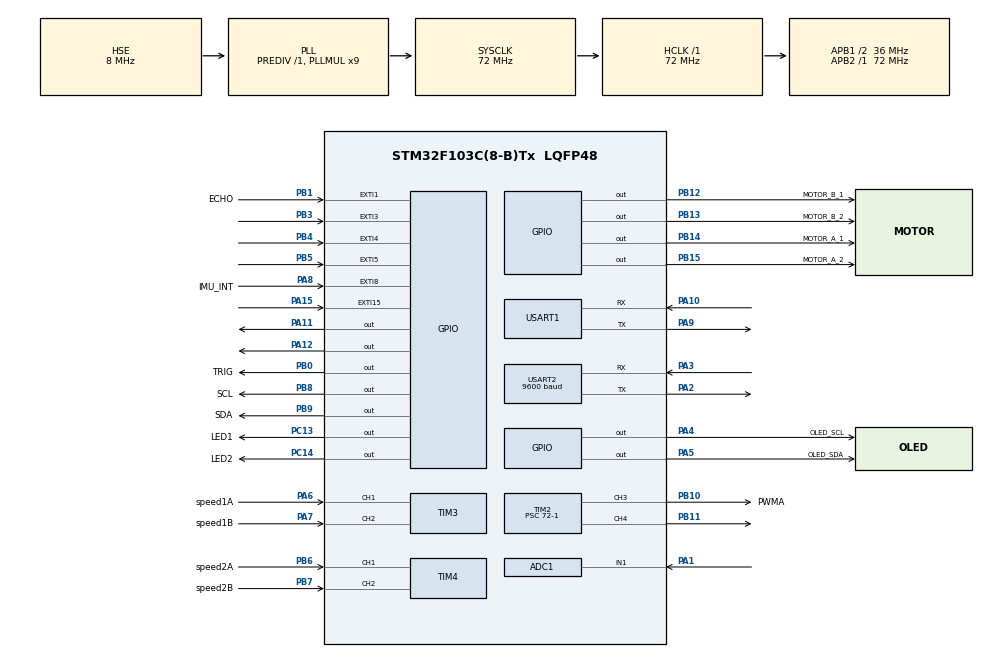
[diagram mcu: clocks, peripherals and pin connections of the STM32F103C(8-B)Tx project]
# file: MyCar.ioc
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ADC1.Channel-1\#ChannelRegularConversion=ADC_CHANNEL_1
ADC1.NbrOfConversionFlag=1
ADC1.Rank-1\#ChannelRegularConversion=1
ADC1.SamplingTime-1\#ChannelRegularConversion=ADC_SAMPLETIME_1CYCLE_5
ADC1.master=1
Dma.Request0=USART2_RX
Dma.Request1=USART2_TX
Dma.USART2_RX.0.Direction=DMA_PERIPH_TO_MEMORY
Dma.USART2_RX.0.Instance=DMA1_Channel6
Dma.USART2_RX.0.MemDataAlignment=DMA_MDATAALIGN_BYTE
Dma.USART2_RX.0.MemInc=DMA_MINC_ENABLE
Dma.USART2_RX.0.Mode=DMA_CIRCULAR
Dma.USART2_RX.0.PeriphDataAlignment=DMA_PDATAALIGN_BYTE
Dma.USART2_RX.0.PeriphInc=DMA_PINC_DISABLE
Dma.USART2_RX.0.Priority=DMA_PRIORITY_LOW
Dma.USART2_TX.1.Direction=DMA_MEMORY_TO_PERIPH
Dma.USART2_TX.1.Instance=DMA1_Channel7
Dma.USART2_TX.1.MemDataAlignment=DMA_MDATAALIGN_BYTE
Dma.USART2_TX.1.MemInc=DMA_MINC_ENABLE
Dma.USART2_TX.1.Mode=DMA_CIRCULAR
Dma.USART2_TX.1.PeriphDataAlignment=DMA_PDATAALIGN_BYTE
Dma.USART2_TX.1.PeriphInc=DMA_PINC_DISABLE
Dma.USART2_TX.1.Priority=DMA_PRIORITY_LOW
FREERTOS.BinarySemaphores01=myBinarySem_rxok,Dynamic,NULL
FREERTOS.Tasks01=Task_Sys,-2,128,StartTask_5Hz,Default,NULL,Dynamic,NULL,NULL;Task_Control,0,128,StartTask_100Hz,Default,NULL,Dynamic,NULL,NULL;Task_IMU,-1,128,StartTask_200Hz,Default,NULL,Dynamic,NULL,NULL;Task_Connect,-2,128,StartTask_Connect,Default,NULL,Dynamic,NULL,NULL
FREERTOS.configTOTAL_HEAP_SIZE=10240
Mcu.Family=STM32F1
Mcu.Name=STM32F103C(8-B)Tx
Mcu.Package=LQFP48
NVIC.DMA1_Channel6_IRQn=true\:5\:0\:false\:false\:true\:true\:false\:true
NVIC.DMA1_Channel7_IRQn=true\:5\:0\:false\:false\:true\:true\:false\:true
NVIC.EXTI1_IRQn=true\:5\:0\:true\:false\:true\:true\:true\:true
NVIC.EXTI3_IRQn=true\:6\:0\:true\:false\:true\:true\:true\:true
NVIC.EXTI4_IRQn=true\:6\:0\:true\:false\:true\:true\:true\:true
NVIC.PriorityGroup=NVIC_PRIORITYGROUP_4
NVIC.TIM1_UP_IRQn=true\:5\:0\:false\:false\:true\:true\:true\:true
NVIC.TIM3_IRQn=true\:5\:0\:false\:false\:true\:true\:true\:true
NVIC.TIM4_IRQn=true\:5\:0\:false\:false\:true\:true\:true\:true
NVIC.USART2_IRQn=true\:5\:0\:false\:false\:true\:true\:true\:true
PA1.Signal=ADCx_IN1
PA10.Mode=Asynchronous
PA10.Signal=USART1_RX
PA11.GPIO_Speed=GPIO_SPEED_FREQ_HIGH
PA11.PinState=GPIO_PIN_SET
PA11.Signal=GPIO_Output
PA12.GPIO_Speed=GPIO_SPEED_FREQ_HIGH
PA12.PinState=GPIO_PIN_SET
PA12.Signal=GPIO_Output
PA13.Mode=Serial_Wire
PA13.Signal=SYS_JTMS-SWDIO
PA14.Mode=Serial_Wire
PA14.Signal=SYS_JTCK-SWCLK
PA15.Signal=GPXTI15
PA2.Mode=Asynchronous
PA2.Signal=USART2_TX
PA3.Mode=Asynchronous
PA3.Signal=USART2_RX
PA4.GPIO_Label=OLED_SCL
PA4.GPIO_Speed=GPIO_SPEED_FREQ_HIGH
PA4.PinState=GPIO_PIN_SET
PA4.Signal=GPIO_Output
PA5.GPIO_Label=OLED_SDA
PA5.GPIO_Speed=GPIO_SPEED_FREQ_HIGH
PA5.PinState=GPIO_PIN_SET
PA5.Signal=GPIO_Output
PA6.GPIO_Label=speed1A
PA6.Signal=S_TIM3_CH1
PA7.GPIO_Label=speed1B
PA7.Signal=S_TIM3_CH2
PA8.GPIO_Label=IMU_INT
PA8.Signal=GPXTI8
PA9.Mode=Asynchronous
PA9.Signal=USART1_TX
PB0.GPIO_Label=TRIG
PB0.Signal=GPIO_Output
PB1.GPIO_Label=ECHO
PB1.GPIO_ModeDefaultEXTI=GPIO_MODE_IT_RISING_FALLING
PB1.Signal=GPXTI1
PB10.GPIO_Label=PWMA
PB10.Signal=S_TIM2_CH3
PB11.Signal=S_TIM2_CH4
PB12.GPIO_Label=MOTOR_B_1
PB12.Signal=GPIO_Output
PB13.GPIO_Label=MOTOR_B_2
PB13.Signal=GPIO_Output
PB14.GPIO_Label=MOTOR_A_1
PB14.Signal=GPIO_Output
PB15.GPIO_Label=MOTOR_A_2
PB15.Signal=GPIO_Output
PB3.Signal=GPXTI3
PB4.Signal=GPXTI4
PB5.Signal=GPXTI5
PB6.GPIO_Label=speed2A
PB6.Signal=S_TIM4_CH1
PB7.GPIO_Label=speed2B
PB7.Signal=S_TIM4_CH2
PB8.GPIO_Label=SCL
PB8.PinState=GPIO_PIN_SET
PB8.Signal=GPIO_Output
PB9.GPIO_Label=SDA
PB9.PinState=GPIO_PIN_SET
PB9.Signal=GPIO_Output
PC13-TAMPER-RTC.GPIO_Label=LED1
PC13-TAMPER-RTC.Signal=GPIO_Output
PC14-OSC32_IN.GPIO_Label=LED2
PC14-OSC32_IN.Signal=GPIO_Output
PD0-OSC_IN.Mode=HSE-External-Oscillator
PD0-OSC_IN.Signal=RCC_OSC_IN
PD1-OSC_OUT.Mode=HSE-External-Oscillator
PD1-OSC_OUT.Signal=RCC_OSC_OUT
ProjectManager.HeapSize=0x200
ProjectManager.StackSize=0x400
ProjectManager.TargetToolchain=MDK-ARM V5.32
RCC.ADCPresc=RCC_ADCPCLK2_DIV6
RCC.AHBFreq_Value=72000000
RCC.APB1CLKDivider=RCC_HCLK_DIV2
RCC.APB1Freq_Value=36000000
RCC.APB1TimFreq_Value=72000000
RCC.APB2Freq_Value=72000000
RCC.APB2TimFreq_Value=72000000
RCC.HCLKFreq_Value=72000000
RCC.PLLMUL=RCC_PLL_MUL9
RCC.PLLSourceVirtual=RCC_PLLSOURCE_HSE
RCC.SYSCLKFreq_VALUE=72000000
RCC.SYSCLKSource=RCC_SYSCLKSOURCE_PLLCLK
RCC.USBFreq_Value=72000000
SH.ADCx_IN1.0=ADC1_IN1,IN1
SH.S_TIM2_CH3.0=TIM2_CH3,PWM Generation3 CH3
SH.S_TIM2_CH4.0=TIM2_CH4,PWM Generation4 CH4
SH.S_TIM3_CH1.0=TIM3_CH1,Encoder_Interface
SH.S_TIM3_CH2.0=TIM3_CH2,Encoder_Interface
SH.S_TIM4_CH1.0=TIM4_CH1,Encoder_Interface
SH.S_TIM4_CH2.0=TIM4_CH2,Encoder_Interface
TIM1.Period=5000
TIM1.Prescaler=7200-1
TIM2.Channel-PWM\ Generation3\ CH3=TIM_CHANNEL_3
TIM2.Channel-PWM\ Generation4\ CH4=TIM_CHANNEL_4
TIM2.Period=1000-1
TIM2.Prescaler=72-1
TIM3.EncoderMode=TIM_ENCODERMODE_TI12
TIM4.EncoderMode=TIM_ENCODERMODE_TI12
USART1.VirtualMode=VM_ASYNC
USART2.BaudRate=9600
USART2.VirtualMode=VM_ASYNC
VP_FREERTOS_VS_CMSIS_V1.Mode=CMSIS_V1
VP_TIM1_VS_ClockSourceINT.Mode=Internal
board=custom

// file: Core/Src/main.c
/* USER CODE BEGIN Header */
/**
  ******************************************************************************
  * @file           : main.c
  * @brief          : Main program body
  ******************************************************************************
  * @attention
  *
  * Copyright (c) 2023 STMicroelectronics.
  * All rights reserved.
  *
  * This software is licensed under terms that can be found in the LICENSE file
  * in the root directory of this software component.
  * If no LICENSE file comes with this software, it is provided AS-IS.
  *
  ******************************************************************************
  */
/* USER CODE END Header */
#include "main.h"
#include "cmsis_os.h"
#include "adc.h"
#include "dma.h"
#include "tim.h"
#include "usart.h"
#include "gpio.h"

/* USER CODE BEGIN Includes */
#include "oled.h"
#include "cartask.h"
#include "delay.h"
#include "mpu6050.h"
#include "atk_ms6050_iic.h"
#include "atk_ms6050.h"
#include "control.h"
#include "valuepack.h"
/* USER CODE END Includes */

/* USER CODE BEGIN PV */
extern int  Distance ;
extern unsigned char vp_rxbuff[VALUEPACK_BUFFER_SIZE];
extern unsigned char vp_txbuff[TXPACK_BYTE_SIZE + 3];
RxPack rx;
TxPack tx;
/* USER CODE END PV */

void SystemClock_Config(void);
void MX_FREERTOS_Init(void);

int main(void)
{

  /* MCU Configuration--------------------------------------------------------*/

  /* Reset of all peripherals, Initializes the Flash interface and the Systick. */
  HAL_Init();

  /* Configure the system clock */
  SystemClock_Config();

  /* USER CODE BEGIN SysInit */
  __HAL_RCC_DMA1_CLK_ENABLE();
  /* USER CODE END SysInit */

  /* Initialize all configured peripherals */
  MX_GPIO_Init();
  MX_ADC1_Init();
	MX_DMA_Init();
  MX_TIM1_Init();
  MX_TIM2_Init();
  MX_TIM3_Init();
  MX_TIM4_Init();
  MX_USART1_UART_Init();
  MX_USART2_UART_Init();
  /* USER CODE BEGIN 2 */
	HAL_ADCEx_Calibration_Start(&hadc1);    //ADУ׼
	HAL_TIM_PWM_Start(&htim2, TIM_CHANNEL_3);
	HAL_TIM_PWM_Start(&htim2, TIM_CHANNEL_4);
	HAL_TIM_Encoder_Start(&htim3, TIM_CHANNEL_ALL);
	HAL_TIM_Encoder_Start(&htim4, TIM_CHANNEL_ALL);
	HAL_UART_Receive_DMA(&huart2, (uint8_t *)vp_rxbuff, VALUEPACK_BUFFER_SIZE);
	HAL_Delay(1000);
	delay_init(72);
	uint8_t Senbuff[] = "\r\n**** Serial Output Message by DMA ***\r\n   UART DMA Test \r\n  ";
  /* USER CODE END 2 */

  /* Call init function for freertos objects (in freertos.c) */
  MX_FREERTOS_Init();
  /* Start scheduler */
  osKernelStart();

  /* We should never get here as control is now taken by the scheduler */
  /* Infinite loop */
  while (1)
  {

  }
}

void SystemClock_Config(void)
{
  RCC_OscInitTypeDef RCC_OscInitStruct = {0};
  RCC_ClkInitTypeDef RCC_ClkInitStruct = {0};
  RCC_PeriphCLKInitTypeDef PeriphClkInit = {0};

  /** Initializes the RCC Oscillators according to the specified parameters
  * in the RCC_OscInitTypeDef structure.
  */
  RCC_OscInitStruct.OscillatorType = RCC_OSCILLATORTYPE_HSE;
  RCC_OscInitStruct.HSEState = RCC_HSE_ON;
  RCC_OscInitStruct.HSEPredivValue = RCC_HSE_PREDIV_DIV1;
  RCC_OscInitStruct.HSIState = RCC_HSI_ON;
  RCC_OscInitStruct.PLL.PLLState = RCC_PLL_ON;
  RCC_OscInitStruct.PLL.PLLSource = RCC_PLLSOURCE_HSE;
  RCC_OscInitStruct.PLL.PLLMUL = RCC_PLL_MUL9;
  if (HAL_RCC_OscConfig(&RCC_OscInitStruct) != HAL_OK)
  {
    Error_Handler();
  }
  /** Initializes the CPU, AHB and APB buses clocks
  */
  RCC_ClkInitStruct.ClockType = RCC_CLOCKTYPE_HCLK|RCC_CLOCKTYPE_SYSCLK
                              |RCC_CLOCKTYPE_PCLK1|RCC_CLOCKTYPE_PCLK2;
  RCC_ClkInitStruct.SYSCLKSource = RCC_SYSCLKSOURCE_PLLCLK;
  RCC_ClkInitStruct.AHBCLKDivider = RCC_SYSCLK_DIV1;
  RCC_ClkInitStruct.APB1CLKDivider = RCC_HCLK_DIV2;
  RCC_ClkInitStruct.APB2CLKDivider = RCC_HCLK_DIV1;

  if (HAL_RCC_ClockConfig(&RCC_ClkInitStruct, FLASH_LATENCY_2) != HAL_OK)
  {
    Error_Handler();
  }
  PeriphClkInit.PeriphClockSelection = RCC_PERIPHCLK_ADC;
  PeriphClkInit.AdcClockSelection = RCC_ADCPCLK2_DIV6;
  if (HAL_RCCEx_PeriphCLKConfig(&PeriphClkInit) != HAL_OK)
  {
    Error_Handler();
  }
}

void Error_Handler(void)
{
  __disable_irq();
  while (1)
  {
  }
}

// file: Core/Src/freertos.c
/* USER CODE BEGIN Header */
/**
  ******************************************************************************
  * File Name          : freertos.c
  * Description        : Code for freertos applications
  ******************************************************************************
  * @attention
  *
  * Copyright (c) 2023 STMicroelectronics.
  * All rights reserved.
  *
  * This software is licensed under terms that can be found in the LICENSE file
  * in the root directory of this software component.
  * If no LICENSE file comes with this software, it is provided AS-IS.
  *
  ******************************************************************************
  */
/* USER CODE END Header */

#include "FreeRTOS.h"
#include "task.h"
#include "main.h"
#include "cmsis_os.h"

/* USER CODE BEGIN Includes */
#include "stdio.h"
#include "oled.h"
#include "mpu6050.h"
#include "cartask.h"
#include "control.h"
#include "valuepack.h"
#include "usart.h"
/* USER CODE END Includes */

/* USER CODE BEGIN Variables */
extern unsigned char vp_rxbuff[VALUEPACK_BUFFER_SIZE];
extern unsigned char vp_txbuff[TXPACK_BYTE_SIZE + 3];
/* USER CODE END Variables */
osThreadId Task_SysHandle;
osThreadId Task_ControlHandle;
osThreadId Task_IMUHandle;
osThreadId Task_ConnectHandle;
osSemaphoreId myBinarySem_rxokHandle;

void StartTask_5Hz(void const * argument);
void StartTask_100Hz(void const * argument);
void StartTask_200Hz(void const * argument);
void StartTask_Connect(void const * argument);

void MX_FREERTOS_Init(void); /* (MISRA C 2004 rule 8.1) */

/* GetIdleTaskMemory prototype (linked to static allocation support) */
void vApplicationGetIdleTaskMemory( StaticTask_t **ppxIdleTaskTCBBuffer, StackType_t **ppxIdleTaskStackBuffer, uint32_t *pulIdleTaskStackSize );

/* USER CODE BEGIN GET_IDLE_TASK_MEMORY */
static StaticTask_t xIdleTaskTCBBuffer;
static StackType_t xIdleStack[configMINIMAL_STACK_SIZE];

void vApplicationGetIdleTaskMemory( StaticTask_t **ppxIdleTaskTCBBuffer, StackType_t **ppxIdleTaskStackBuffer, uint32_t *pulIdleTaskStackSize )
{
  *ppxIdleTaskTCBBuffer = &xIdleTaskTCBBuffer;
  *ppxIdleTaskStackBuffer = &xIdleStack[0];
  *pulIdleTaskStackSize = configMINIMAL_STACK_SIZE;
  /* place for user code */
}
/* USER CODE END GET_IDLE_TASK_MEMORY */

void MX_FREERTOS_Init(void) {

  /* Create the semaphores(s) */
  /* definition and creation of myBinarySem_rxok */
  osSemaphoreDef(myBinarySem_rxok);
  myBinarySem_rxokHandle = osSemaphoreCreate(osSemaphore(myBinarySem_rxok), 1);

  /* Create the thread(s) */
  /* definition and creation of Task_Sys */
  osThreadDef(Task_Sys, StartTask_5Hz, osPriorityLow, 0, 128);
  Task_SysHandle = osThreadCreate(osThread(Task_Sys), NULL);

  /* definition and creation of Task_Control */
  osThreadDef(Task_Control, StartTask_100Hz, osPriorityNormal, 0, 128);
  Task_ControlHandle = osThreadCreate(osThread(Task_Control), NULL);

  /* definition and creation of Task_IMU */
  osThreadDef(Task_IMU, StartTask_200Hz, osPriorityBelowNormal, 0, 128);
  Task_IMUHandle = osThreadCreate(osThread(Task_IMU), NULL);

  /* definition and creation of Task_Connect */
  osThreadDef(Task_Connect, StartTask_Connect, osPriorityLow, 0, 128);
  Task_ConnectHandle = osThreadCreate(osThread(Task_Connect), NULL);

  /* USER CODE BEGIN RTOS_THREADS */
  /* add threads, ... */
	vTaskSuspend(Task_ControlHandle);
  /* USER CODE END RTOS_THREADS */

}

void StartTask_5Hz(void const * argument)
{
  /* USER CODE BEGIN StartTask_5Hz */
	OLED_Init();
  /* Infinite loop */
  for(;;)
  {
		Car_Task_System();
    osDelay(200);
  }
  /* USER CODE END StartTask_5Hz */
}

void StartTask_100Hz(void const * argument)
{
  /* USER CODE BEGIN StartTask_100Hz */
  /* Infinite loop */
  for(;;)
  {
		Car_Task_Motor();
    osDelay(20);
  }
  /* USER CODE END StartTask_100Hz */
}

void StartTask_200Hz(void const * argument)
{
  /* USER CODE BEGIN StartTask_200Hz */
	uint8_t ret;
	ret = atk_ms6050_init();
	if (ret != 0)
	{
			printf("ATK-MS6050 init failed!\r\n");
	}
	ret = atk_ms6050_dmp_init();
	if (ret != 0)
	{
			printf("ATK-MS6050 DMP init failed!\r\n");
	}
	vTaskResume(Task_ControlHandle);
  /* Infinite loop */
  for(;;)
  {
		Car_Task_IMU();
		osDelay(2);
  }
  /* USER CODE END StartTask_200Hz */
}

void StartTask_Connect(void const * argument)
{
  /* USER CODE BEGIN StartTask_Connect */

  /* Infinite loop */
  for(;;)
  {
//		osSemaphoreWait (myBinarySem_rxokHandle,osWaitForever);//等待二值信号量，只有等到了才会往下运行
		connect_read_data();
    osDelay(10);
  }
  /* USER CODE END StartTask_Connect */
}
